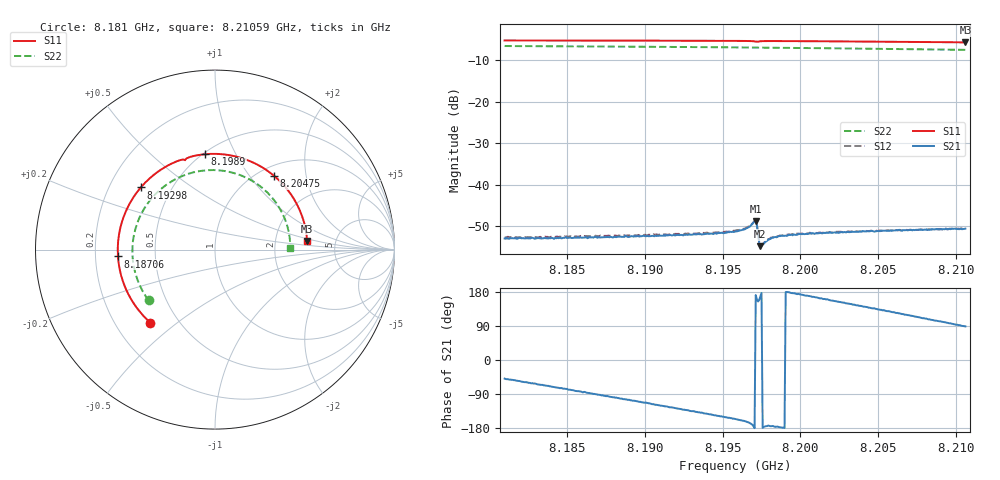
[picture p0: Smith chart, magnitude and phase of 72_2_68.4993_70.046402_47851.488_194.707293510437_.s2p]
#  HZ  S  RI  R  50.00
! Rohde & Schwarz Vector Network Analyzer
! Rohde-Schwarz,ZNB20-2Port,1311601062101988,3.16
! Created: UTC 3/20/2024, 5:06:56 PM
! freq[Hz]  re:S11  im:S11  re:S21  im:S21  re:S12  im:S12  re:S22  im:S22
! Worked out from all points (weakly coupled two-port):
!   401 points, 8.181 GHz to 8.21059 GHz, reference 50 ohm
!   highest |S21| = -48.80 dB at 8.19713 GHz (marker M1); lowest = -54.8 dB at 8.19742 GHz (marker M2)
!   lowest |S11| = -5.8 dB at 8.21059 GHz (marker M3), VSWR 3.13, Z = 153 + j20.2 ohm
!   |S11| at or under -10 dB: nowhere
!   |S22| runs from -7.6 to -6.6 dB; largest |S21 - S12| = 0.00019
!   S11 on the Smith chart (normalised r, x): 8.181 GHz: 0.35, -0.40; 8.18706 GHz: 0.30, -0.03; 8.19298 GHz: 0.33, +0.33; 8.1989 GHz: 0.51, +0.76; 8.20475 GHz: 1.17, +1.33; 8.21059 GHz: 3.07, +0.40
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8.180998e9  -0.3597 -0.4075  0.00148 -0.0017  0.0015 -0.00179  -0.3697 -0.2834
8.183662e9  -0.4746 -0.2637  0.000862 -0.0021  0.000834 -0.0022  -0.4376 -0.1519
8.185955e9  -0.5301 -0.1144  0.000234 -0.0023  0.000246 -0.0024  -0.46 -0.0266
8.187065e9  -0.5408 -0.0379  -7.19e-05 -0.00234  -0.000119 -0.0024  -0.4584 0.0351
8.188988e9  -0.5327 0.096  -0.000604 -0.00228  -0.000722 -0.00235  -0.436 0.1393
8.190912e9  -0.4918 0.224  -0.0012 -0.00211  -0.00127 -0.00216  -0.3897 0.2356
8.192983e9  -0.4135 0.3462  -0.00177 -0.00177  -0.00187 -0.00179  -0.3162 0.3241
8.195794e9  -0.26 0.4699  -0.00249 -0.00113  -0.0026 -0.00102  -0.1844 0.4091
8.19646e9  -0.2167 0.4905  -0.00279 -0.000914  -0.00288 -0.000791  -0.1493 0.4218
8.196978e9  -0.1788 0.5013  -0.00348 -0.00033  -0.00353 -0.000201  -0.1212 0.4299
8.197126e9  -0.1683 0.4996  -0.00359 0.000545  -0.00364 0.000728  -0.1131 0.4318
8.197422e9  -0.1596 0.5072  -0.00178 0.000379  -0.00179 0.000464  -0.097 0.4354
8.197496e9  -0.1543 0.5102  -0.00183 9.76e-05  -0.00185 0.0002  -0.0928 0.4361
8.19757e9  -0.1491 0.5126  -0.0019 -2.83e-05  -0.00193 5.12e-05  -0.0887 0.4368
8.198162e9  -0.1064 0.5242  -0.00229 -0.000219  -0.0023 -0.000152  -0.0556 0.4412
8.198902e9  -0.0541 0.5315  -0.00243 -4.6e-05  -0.00246 6.87e-05  -0.0135 0.4431
8.200751e9  0.0766 0.5267  -0.00252 0.000597  -0.00253 0.000664  0.0908 0.4305
8.202675e9  0.2064 0.4878  -0.00236 0.00127  -0.00232 0.00137  0.1933 0.3909
8.204746e9  0.3305 0.41  -0.00197 0.00189  -0.00195 0.00201  0.2899 0.32
8.205708e9  0.3795 0.3627  -0.00174 0.00219  -0.00166 0.00226  0.3276 0.2781
8.208223e9  0.475 0.2123  -0.000854 0.00275  -0.00083 0.00279  0.3977 0.1474
8.210591e9  0.5132 0.0484  7.3e-05 0.00296  0.000159 0.003  0.4191 0.00695
